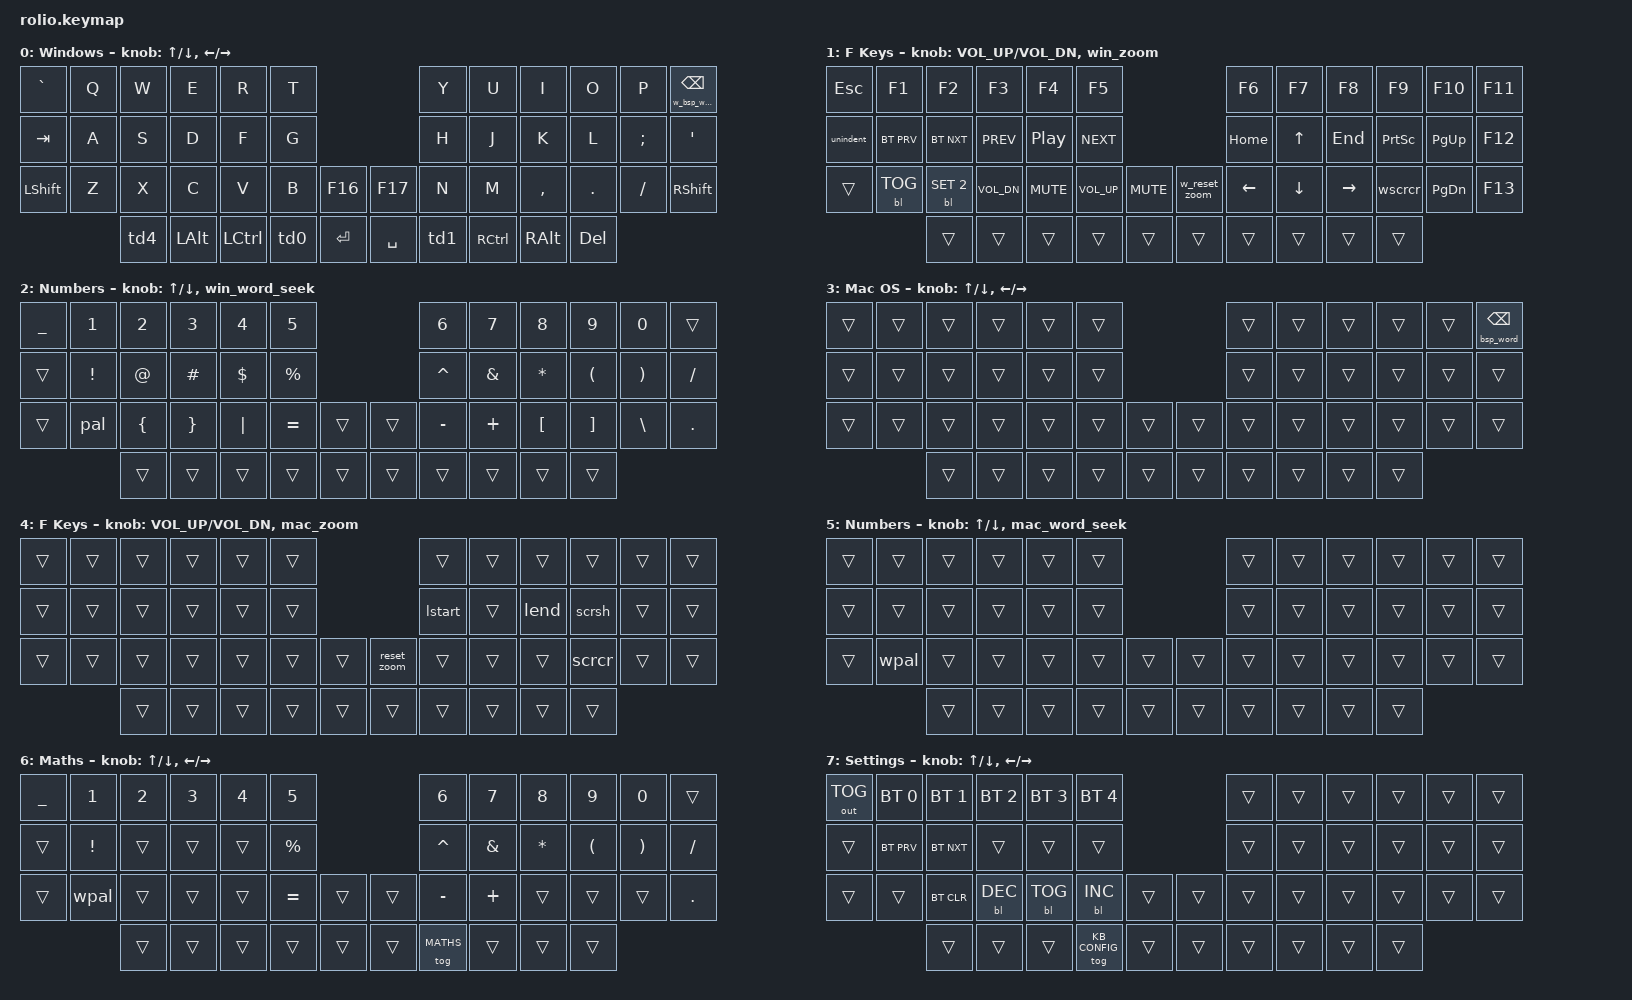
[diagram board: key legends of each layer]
/*
 * Copyright (c) 2020 The ZMK Contributors
 *
 * SPDX-License-Identifier: MIT
 */

#include <behaviors.dtsi>
#include <dt-bindings/zmk/keys.h>
#include <dt-bindings/zmk/bt.h>
#include <dt-bindings/zmk/outputs.h>
#include <dt-bindings/zmk/backlight.h>


#define MACOS     0
#define FKEYS     1
#define NUMBERS   2
#define WINDOWS   3
#define W_FKEYS   4
#define W_NUMBERS 5
#define MATHS     6
#define KB_CONFIG 7


/ {

    conditional_layers {
        compatible = "zmk,conditional-layers";
        win_fkeys {
            if-layers = <WINDOWS FKEYS>;
            then-layer = <W_FKEYS>;
        };
        win_numbers {
            if-layers = <WINDOWS NUMBERS>;
            then-layer = <W_NUMBERS>;
        };
    };


    behaviors {
        // Toggle F-Keys Layer
        td0: tap_dance_0 {
            compatible = "zmk,behavior-tap-dance";
            label = "TAP_DANCE_0";
            #binding-cells = <0>;
            tapping-term-ms = <300>;
            bindings = <&mo FKEYS>, <&tog FKEYS>, <&tog KB_CONFIG>;
        };
        // Toggle Numbers layer
        td1: tap_dance_1 {
            compatible = "zmk,behavior-tap-dance";
            label = "TAP_DANCE_1";
            #binding-cells = <0>;
            tapping-term-ms = <300>;
            bindings = <&mo NUMBERS>, <&tog MATHS>, <&tog NUMBERS>;
        };
        // Toggle capsword left
        td2: tap_dance_2 {
            compatible = "zmk,behavior-tap-dance";
            label = "TAP_DANCE_2";
            #binding-cells = <0>;
            tapping-term-ms = <200>;
            bindings = <&kp LSHFT>, <&caps_word>;
        };
        // Toggle capsword right
        td3: tap_dance_3 {
            compatible = "zmk,behavior-tap-dance";
            label = "TAP_DANCE_3";
            #binding-cells = <0>;
            tapping-term-ms = <200>;
            bindings = <&kp RSHFT>, <&caps_word>;
        };
        // Toggle Windows layer
        td4: tap_dance_4 {
            compatible = "zmk,behavior-tap-dance";
            label = "TAP_DANCE_4";
            #binding-cells = <0>;
            tapping-term-ms = <200>;
            bindings = <&kp LGUI>, <&tog WINDOWS>;
        };
        // Toggle Windows layer
        td5: tap_dance_5 {
            compatible = "zmk,behavior-tap-dance";
            label = "TAP_DANCE_5";
            #binding-cells = <0>;
            tapping-term-ms = <200>;
            bindings = <&kp RGUI>, <&tog WINDOWS>;
        };
        // Backspace a whole word when holding backspace
        backspace_word: backspace_word {
            compatible = "zmk,behavior-hold-tap";
            label = "BACKSPACE_WORD";
            #binding-cells = <2>;
            tapping_term_ms = <135>;
            quick_tap_ms = <0>;
            flavor = "tap-preferred";
            bindings = <&bsp_word>, <&kp>;
        };
        w_backspace_word: w_backspace_word {
            compatible = "zmk,behavior-hold-tap";
            label = "WINDOWS_BACKSPACE_WORD";
            #binding-cells = <2>;
            tapping_term_ms = <135>;
            quick_tap_ms = <0>;
            flavor = "tap-preferred";
            bindings = <&w_bsp_word>, <&kp>;
        };
        // Mac OS Word Seek
        mac_word_seek: mac_word_seek {
            compatible = "zmk,behavior-sensor-rotate";
            label = "MAC_WORD_SEEK";
            #sensor-binding-cells = <0>;
            bindings = <&prev_word>, <&next_word>;
        };
        //Windows Word Seek
        win_word_seek: win_word_seek {
            compatible = "zmk,behavior-sensor-rotate";
            label = "WIN_WORD_SEEK";
            #sensor-binding-cells = <0>;
            tap-ms = <20>;
            bindings = <&w_prev_word>, <&w_next_word>;
        };
        //Mac OS Zoom
        mac_zoom: mac_zoom {
            compatible = "zmk,behavior-sensor-rotate";
            label = "MAC_ZOOM";
            #sensor-binding-cells = <0>;
            bindings = <&zoom_in>, <&zoom_out>;
        };
        //Windows OS Zoom
        win_zoom: win_zoom {
            compatible = "zmk,behavior-sensor-rotate";
            label = "WINDOWS_ZOOM";
            #sensor-binding-cells = <0>;
            bindings = <&w_zoom_in>, <&w_zoom_out>;
        };
    };


    macros {
        unindent: unindent {
            label = "UNINDENT";
            compatible = "zmk,behavior-macro";
            #binding-cells = <0>;
            bindings
                = <&macro_press &kp LSHIFT>
                , <&macro_tap &kp TAB>
                , <&macro_release &kp LSHIFT>
                ;
        };
        lstart: lstart {
            label = "Line_Start";
            compatible = "zmk,behavior-macro";
            #binding-cells = <0>;
            bindings
                = <&macro_press &kp LGUI>
                , <&macro_tap &kp LEFT>
                , <&macro_release &kp LGUI>
                ;
        };
        lend: lend {
            label = "Line_End";
            compatible = "zmk,behavior-macro";
            #binding-cells = <0>;
            bindings
                = <&macro_press &kp LGUI>
                , <&macro_tap &kp RIGHT>
                , <&macro_release &kp LGUI>
                ;
        };
        scrsh: scrsh {
            label = "Screenshot";
            compatible = "zmk,behavior-macro";
            #binding-cells = <0>;
            bindings
                = <&macro_press &kp LGUI>
                , <&macro_press &kp LSHIFT>
                , <&macro_tap &kp N3>
                , <&macro_release &kp LSHFT>
                , <&macro_release &kp LGUI>
                ;
        };
        scrcr: scrcr {
            label = "Screen_Crop";
            compatible = "zmk,behavior-macro";
            #binding-cells = <0>;
            bindings
                = <&macro_press &kp LGUI>
                , <&macro_press &kp LSHIFT>
                , <&macro_tap &kp N4>
                , <&macro_release &kp LSHFT>
                , <&macro_release &kp LGUI>
                ;
        };
        wscrcr: wscrcr {
            label = "Windows_Screen_Crop";
            compatible = "zmk,behavior-macro";
            #binding-cells = <0>;
            bindings
                = <&macro_press &kp LGUI>
                , <&macro_press &kp LSHIFT>
                , <&macro_tap &kp S>
                , <&macro_release &kp LSHFT>
                , <&macro_release &kp LGUI>
                ;
        };
        pal: pal {
            label = "Pallette";
            compatible = "zmk,behavior-macro";
            #binding-cells = <0>;
            bindings
                = <&macro_press &kp LGUI>
                , <&macro_press &kp LCTRL>
                , <&macro_tap &kp SPACE>
                , <&macro_release &kp LCTRL>
                , <&macro_release &kp LGUI>
                ;
        };
        wpal: wpal {
            label = "W_Pallette";
            compatible = "zmk,behavior-macro";
            #binding-cells = <0>;
            bindings
                = <&macro_press &kp LGUI>
                , <&macro_tap &kp DOT>
                , <&macro_release &kp LGUI>
                ;
        };
        // Word backspace macros
        bsp_word: bsp_word {
            label = "BSP_WORD";
            compatible = "zmk,behavior-macro";
            #binding-cells = <0>;
            bindings
                = <&macro_press &kp LALT>
                , <&macro_tap &kp BSPC>
                , <&macro_release &kp LALT>
                ;
        };
        w_bsp_word: w_bsp_word {
            label = "W_BSP_WORD";
            compatible = "zmk,behavior-macro";
            #binding-cells = <0>;
            bindings
                = <&macro_press &kp LCTRL>
                , <&macro_tap &kp BSPC>
                , <&macro_release &kp LCTRL>
                ;
        };
        // Word seek macros
        prev_word: prev_word {
            label = "PREV_WORD";
            compatible = "zmk,behavior-macro";
            wait-ms = <2>;
            tap-ms = <20>;
            #binding-cells = <0>;
            bindings
                = <&macro_press &kp LALT>
                , <&macro_tap &kp LEFT>
                , <&macro_release &kp LALT>
                ;
        };
        next_word: next_word {
            label = "NEXT_WORD";
            compatible = "zmk,behavior-macro";
            wait-ms = <2>;
            tap-ms = <20>;
            #binding-cells = <0>;
            bindings
                = <&macro_press &kp LALT>
                , <&macro_tap &kp RIGHT>
                , <&macro_release &kp LALT>
                ;
        };
        w_prev_word: w_prev_word {
            label = "W_PREV_WORD";
            compatible = "zmk,behavior-macro";
            wait-ms = <2>;
            tap-ms = <20>;
            #binding-cells = <0>;
            bindings
                = <&macro_press &kp LCTRL>
                , <&macro_tap &kp LEFT>
                , <&macro_release &kp LCTRL>
                ;
        };
        w_next_word: w_next_word {
            label = "W_NEXT_WORD";
            compatible = "zmk,behavior-macro";
            wait-ms = <2>;
            tap-ms = <20>;
            #binding-cells = <0>;
            bindings
                = <&macro_press &kp LCTRL>
                , <&macro_tap &kp RIGHT>
                , <&macro_release &kp LCTRL>
                ;
        };
        // Zoom macros
        zoom_in: zoom_in {
            label = "ZOOM_IN";
            compatible = "zmk,behavior-macro";
            #binding-cells = <0>;
            bindings
                = <&macro_press &kp LGUI>
                , <&macro_tap &kp EQUAL>
                , <&macro_release &kp LGUI>
                ;
        };
        zoom_out: zoom_out {
            label = "ZOOM_OUT";
            compatible = "zmk,behavior-macro";
            #binding-cells = <0>;
            bindings
                = <&macro_press &kp LGUI>
                , <&macro_tap &kp MINUS>
                , <&macro_release &kp LGUI>
                ;
        };
        reset_zoom: reset_zoom {
            label = "RESET_ZOOM";
            compatible = "zmk,behavior-macro";
            #binding-cells = <0>;
            bindings
                = <&macro_press &kp LGUI>
                , <&macro_tap &kp N0>
                , <&macro_release &kp LGUI>
                ;
        };
        w_zoom_in: w_zoom_in {
            label = "WINDOWS_ZOOM_IN";
            compatible = "zmk,behavior-macro";
            #binding-cells = <0>;
            bindings
                = <&macro_press &kp LCTRL>
                , <&macro_tap &kp EQUAL>
                , <&macro_release &kp LCTRL>
                ;
        };
        w_zoom_out: w_zoom_out {
            label = "WINDOWS_ZOOM_OUT";
            compatible = "zmk,behavior-macro";
            #binding-cells = <0>;
            bindings
                = <&macro_press &kp LCTRL>
                , <&macro_tap &kp MINUS>
                , <&macro_release &kp LCTRL>
                ;
        };
        w_reset_zoom: w_reset_zoom {
            label = "WINDOWS_RESET_ZOOM";
            compatible = "zmk,behavior-macro";
            #binding-cells = <0>;
            bindings
                = <&macro_press &kp LCTRL>
                , <&macro_tap &kp N0>
                , <&macro_release &kp LCTRL>
                ;
        };

    };


    keymap {
        compatible = "zmk,keymap";

        default_layer {
            label = "Windows";
            sensor-bindings = <&inc_dec_kp UP DOWN &inc_dec_kp LEFT RIGHT>;
            bindings = <
//---------------------------------------------------------------+                            +---------------------------------------------------------------//
//          |         |          |           |          |        |                            |       |       |           |         |          |           // 
  &kp GRAVE   &kp Q     &kp W      &kp E        &kp R     &kp T                                 &kp Y   &kp U     &kp I      &kp O     &kp P     &w_backspace_word 0 BSPC
//          |         |          |           |          |        |                            |       |       |           |         |          |           //
  &kp TAB     &kp A     &kp S      &kp D        &kp F     &kp G                                 &kp H   &kp J     &kp K      &kp L    &kp SEMI    &kp SQT
//          |         |          |           |          |        +-----------+    +-----------|       |       |           |         |          |           //
 &kp LSHIFT   &kp Z     &kp X      &kp C        &kp V     &kp B     &kp F16          &kp F17    &kp N   &kp M   &kp COMMA   &kp DOT    &kp FSLH   &kp RSHIFT
//--------------------|          |           |          |        |           |    |           |       |       |           |--------------------------------//  
                        &td4       &kp LALT   &kp LCTRL   &td0     &kp ENTER        &kp SPACE   &td1  &kp RCTRL  &kp RALT   &kp DEL
//                    +----------|-----------|----------|--------------------+    +-----------|-------|--------|-----------|---------+                      //
            >;
        };

        windows_fkeys_layer {
            label = "F Keys";
            sensor-bindings = <&inc_dec_kp C_VOL_UP C_VOL_DN &win_zoom>;
            bindings = <
//-------------------------------------------------------------------------------+                           +-------------------------------------------------------------------//
//          |            |            |              |            |              |                           |          |          |           |         |           |           // 
  &kp ESCAPE    &kp F1      &kp F2       &kp F3          &kp F4        &kp F5                                   &kp F6    &kp F7      &kp F8     &kp F9    &kp F10     &kp F11
//          |            |            |              |            |              |                           |          |          |           |         |           |           // 
  &unindent   &bt BT_PRV   &bt BT_NXT   &kp C_PREV     &kp C_PP     &kp C_NEXT                                 &kp HOME     &kp UP    &kp END   &kp PSCRN    &kp PG_UP   &kp F12
//          |            |            |              |            |              +-------------+    +--------+          |          |           |         |           |           // 
    &trans    &bl BL_TOG  &bl BL_SET 2  &kp C_VOL_DN   &kp C_MUTE   &kp C_VOL_UP    &kp C_MUTE    &w_reset_zoom &kp LEFT   &kp DOWN   &kp RIGHT   &wscrcr    &kp PG_DN   &kp F13
//-----------------------|            |              |            |              |             |    |        |          |          |           |         |-----------------------//  
                            &trans         &trans       &trans        &trans        &trans            &trans    &trans    &trans      &trans     &trans
//                       +------------|--------------|------------|--------------|-------------+    +--------|----------|----------|-----------|---------+                       //
            >;

        };

        windows_numbers_layer {
            label = "Numbers";
            sensor-bindings = <&inc_dec_kp UP DOWN &win_word_seek>;
            bindings = <
//-------------------------------------------------------------------------------+                      +----------------------------------------------------------------------------//
//          |          |                |                 |          |           |                      |           |               |          |          |               |          // 
  &kp UNDER    &kp N1        &kp N2           &kp N3         &kp N4     &kp N5                             &kp N6        &kp N7        &kp N8     &kp N9       &kp N0        &trans
//          |          |                |                 |          |           |                      |           |               |          |          |               |          // 
    &trans    &kp EXCL       &kp AT          &kp HASH       &kp DLLR   &kp PRCNT                          &kp CARET   &kp AMPERSAND   &kp STAR   &kp LPAR     &kp RPAR      &kp FSLH
//          |          |                |                 |          |           +--------+     +-------|           |               |                     |               |          // 
   &trans       &pal     &kp LEFT_BRACE   &kp RIGHT_BRACE   &kp PIPE   &kp EQUAL   &trans        &trans   &kp MINUS     &kp PLUS      &kp LBKT   &kp RBKT   &kp BACKSLASH   &kp DOT
//---------------------|                |                 |          |           |        |    |                    |               |          |          |--------------------------//
                            &trans            &trans         &trans     &trans     &trans        &trans    &trans       &trans         &trans     &trans
//                     +----------------|-----------------|----------|-----------|--------+    +--------|----------|----------------|----------|----------+                          //
            >;
        };

        mac_default_layer {
            label = "Mac OS";
            sensor-bindings = <&inc_dec_kp UP DOWN &inc_dec_kp LEFT RIGHT>;
            bindings = <
//-----------------------------------------------------------------+                        +------------------------------------------------------------------//
//          |          |          |          |          |          |                        |          |          |          |          |          |           // 
    &trans     &trans     &trans     &trans     &trans     &trans                              &trans     &trans     &trans     &trans     &trans     &backspace_word 0 BSPC
//          |          |          |          |          |          |                        |          |          |          |          |          |           //
    &trans     &trans     &trans     &trans     &trans     &trans                              &trans     &trans     &trans     &trans     &trans     &trans
//          |          |          |          |          |          +--------+     +---------|          |          |          |          |          |           // 
    &trans     &trans     &trans     &trans     &trans     &trans    &trans         &trans     &trans     &trans     &trans     &trans     &trans     &trans
//---------------------|          |          |          |          |        |     |         |          |          |          |          |----------------------//
                          &trans     &trans     &trans     &trans    &trans         &trans     &trans     &trans     &trans     &trans
//                     +----------|----------|----------|----------|--------+     +----------|---------|----------|----------|----------+                      //
            >;
        };

        mac_fkeys_layer {
            label = "F Keys";
            sensor-bindings = <&inc_dec_kp C_VOL_UP C_VOL_DN &mac_zoom>;
            bindings = <
//-----------------------------------------------------------------+                        +------------------------------------------------------------------//
//          |          |          |          |          |          |                        |          |          |          |          |          |           // 
    &trans     &trans     &trans     &trans     &trans     &trans                              &trans     &trans     &trans     &trans     &trans     &trans
//          |          |          |          |          |          |                        |          |          |          |          |          |           //
    &trans     &trans     &trans     &trans     &trans     &trans                             &lstart     &trans     &lend      &scrsh    &trans     &trans
//          |          |          |          |          |          +--------+     +---------|          |          |          |          |          |           // 
    &trans     &trans     &trans     &trans     &trans     &trans    &trans       &reset_zoom  &trans     &trans     &trans     &scrcr    &trans     &trans
//---------------------|          |          |          |          |        |     |         |          |          |          |          |----------------------//
                          &trans     &trans     &trans     &trans    &trans         &trans     &trans     &trans     &trans     &trans
//                     +----------|----------|----------|----------|--------+     +----------|---------|----------|----------|----------+                      //
            >;
        };

        mac_numbers_layer {
            label = "Numbers";
            sensor-bindings = <&inc_dec_kp UP DOWN &mac_word_seek>;
            bindings = <
//-----------------------------------------------------------------+                        +------------------------------------------------------------------//
//          |          |          |          |          |          |                        |          |          |          |          |          |           // 
    &trans     &trans     &trans     &trans     &trans     &trans                              &trans     &trans     &trans     &trans     &trans     &trans
//          |          |          |          |          |          |                        |          |          |          |          |          |           //
    &trans     &trans     &trans     &trans     &trans     &trans                              &trans     &trans     &trans     &trans     &trans     &trans
//          |          |          |          |          |          +--------+     +---------|          |          |          |          |          |           // 
    &trans     &wpal      &trans     &trans     &trans     &trans    &trans         &trans     &trans     &trans     &trans     &trans     &trans     &trans
//---------------------|          |          |          |          |        |     |         |          |          |          |          |----------------------//
                          &trans     &trans     &trans     &trans    &trans         &trans     &trans     &trans     &trans     &trans
//                     +----------|----------|----------|----------|--------+     +---------|----------|----------|----------|----------+                      //
            >;
        };

        maths_layer {
            label = "Maths";
            sensor-bindings = <&inc_dec_kp UP DOWN &inc_dec_kp LEFT RIGHT>;
            bindings = <
//-----------------------------------------------------------------+                        +----------------------------------------------------------------------------//
//          |          |          |          |          |          |                        |           |               |          |          |               |          // 
  &kp UNDER    &kp N1     &kp N2     &kp N3     &kp N4     &kp N5                              &kp N6        &kp N7        &kp N8     &kp N9       &kp N0        &trans
//          |          |          |          |          |          |                        |           |               |          |          |               |          // 
    &trans    &kp EXCL    &trans     &trans     &trans   &kp PRCNT                            &kp CARET   &kp AMPERSAND   &kp STAR   &kp LPAR     &kp RPAR      &kp FSLH
//          |          |          |          |          |          +--------+     +---------|           |               |          |          |               |          // 
    &trans     &wpal      &trans     &trans     &trans   &kp EQUAL   &trans         &trans    &kp MINUS      &kp PLUS      &trans     &trans       &trans       &kp DOT
//---------------------|          |          |          |          |        |     |         |           |               |          |          |--------------------------//
                          &trans     &trans     &trans     &trans    &trans         &trans   &tog MATHS        &trans       &trans     &trans
//                     +----------|----------|----------|----------|--------+     +---------|-----------|---------------|----------|----------+                          //
            >;
      };

        settings_layer {
            label = "Settings";
            sensor-bindings = <&inc_dec_kp UP DOWN &inc_dec_kp LEFT RIGHT>;
            bindings = <
//---------------------------------------------------------------------------------------+                        +------------------------------------------------------------------//
//          |              |              |              |              |                |                        |          |          |          |          |          |           // 
 &out OUT_TOG &bt BT_SEL 0   &bt BT_SEL 1   &bt BT_SEL 2   &bt BT_SEL 3    &bt BT_SEL 4                              &trans     &trans     &trans     &trans     &trans     &trans
//          |              |              |              |              |                |                        |          |          |          |          |          |           // 
    &trans     &bt BT_PRV     &bt BT_NXT       &trans         &trans         &trans                                  &trans     &trans     &trans     &trans     &trans     &trans
//          |              |              |              |              |                +--------+     +---------|          |          |          |          |          |           // 
    &trans       &trans       &bt BT_CLR     &bl BL_DEC    &bl BL_TOG      &bl BL_INC      &trans         &trans     &trans     &trans     &trans     &trans     &trans     &trans
//-------------------------|              |              |              |                |        |     |         |          |          |          |          |----------------------//
                               &trans          &trans         &trans      &tog KB_CONFIG   &trans         &trans     &trans     &trans     &trans     &trans
//                         +--------------|--------------|--------------|----------------|--------+     +----------|---------|----------|----------|----------+                      //
            >;
        };

    };
};
